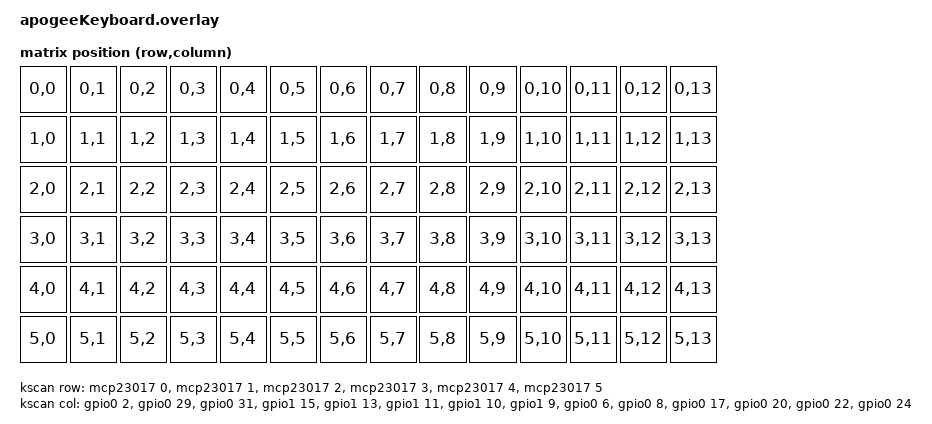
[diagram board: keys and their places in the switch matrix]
#include <dt-bindings/zmk/matrix_transform.h>

/ {
    chosen {
        zmk,kscan = &kscan;
        zmk,matrix_transform = &default_transform;
    };

    /* 6x14 logical matrix: identity RC(row, col) mapping */
    default_transform: keymap_transform_0 {
        compatible = "zmk,matrix-transform";
        columns = <14>;
        rows = <6>;
        map = <
            /* Row 0 */
            RC(0,0)  RC(0,1)  RC(0,2)  RC(0,3)  RC(0,4)  RC(0,5)  RC(0,6)  RC(0,7)  RC(0,8)  RC(0,9)  RC(0,10) RC(0,11) RC(0,12) RC(0,13)
            /* Row 1 */
            RC(1,0)  RC(1,1)  RC(1,2)  RC(1,3)  RC(1,4)  RC(1,5)  RC(1,6)  RC(1,7)  RC(1,8)  RC(1,9)  RC(1,10) RC(1,11) RC(1,12) RC(1,13)
            /* Row 2 */
            RC(2,0)  RC(2,1)  RC(2,2)  RC(2,3)  RC(2,4)  RC(2,5)  RC(2,6)  RC(2,7)  RC(2,8)  RC(2,9)  RC(2,10) RC(2,11) RC(2,12) RC(2,13)
            /* Row 3 */
            RC(3,0)  RC(3,1)  RC(3,2)  RC(3,3)  RC(3,4)  RC(3,5)  RC(3,6)  RC(3,7)  RC(3,8)  RC(3,9)  RC(3,10) RC(3,11) RC(3,12) RC(3,13)
            /* Row 4 */
            RC(4,0)  RC(4,1)  RC(4,2)  RC(4,3)  RC(4,4)  RC(4,5)  RC(4,6)  RC(4,7)  RC(4,8)  RC(4,9)  RC(4,10) RC(4,11) RC(4,12) RC(4,13)
            /* Row 5 */
            RC(5,0)  RC(5,1)  RC(5,2)  RC(5,3)  RC(5,4)  RC(5,5)  RC(5,6)  RC(5,7)  RC(5,8)  RC(5,9)  RC(5,10) RC(5,11) RC(5,12) RC(5,13)
        >;
    };

    /* GPIO matrix scanner using MCP23017 rows + nice!nano columns */
    / {
    kscan: kscan {
        compatible = "zmk,kscan-gpio-matrix";
        label = "KSCAN";

        diode-direction = "row2col";

        /* Example: columns on nice!nano pins */
        col-gpios =
            <&gpio0  2 (GPIO_ACTIVE_HIGH)>,
            <&gpio0 29 (GPIO_ACTIVE_HIGH)>,
            <&gpio0 31 (GPIO_ACTIVE_HIGH)>,
            <&gpio1 15 (GPIO_ACTIVE_HIGH)>,
            <&gpio1 13 (GPIO_ACTIVE_HIGH)>,
            <&gpio1 11 (GPIO_ACTIVE_HIGH)>,
            <&gpio1 10 (GPIO_ACTIVE_HIGH)>,
            <&gpio1  9 (GPIO_ACTIVE_HIGH)>,
            <&gpio0  6 (GPIO_ACTIVE_HIGH)>,
            <&gpio0  8 (GPIO_ACTIVE_HIGH)>,
            <&gpio0 17 (GPIO_ACTIVE_HIGH)>,
            <&gpio0 20 (GPIO_ACTIVE_HIGH)>,
            <&gpio0 22 (GPIO_ACTIVE_HIGH)>,
            <&gpio0 24 (GPIO_ACTIVE_HIGH)>;

        /* Example: rows on MCP23017 pins 0–5 */
        row-gpios =
            <&mcp23017 0 (GPIO_ACTIVE_LOW | GPIO_PULL_UP)>,
            <&mcp23017 1 (GPIO_ACTIVE_LOW | GPIO_PULL_UP)>,
            <&mcp23017 2 (GPIO_ACTIVE_LOW | GPIO_PULL_UP)>,
            <&mcp23017 3 (GPIO_ACTIVE_LOW | GPIO_PULL_UP)>,
            <&mcp23017 4 (GPIO_ACTIVE_LOW | GPIO_PULL_UP)>,
            <&mcp23017 5 (GPIO_ACTIVE_LOW | GPIO_PULL_UP)>;
    };
};


&i2c0 {
    status = "okay";
    clock-frequency = <I2C_BITRATE_STANDARD>;

    mcp23017: mcp23017@20 {
        compatible = "microchip,mcp23017";
        status = "okay";

        /* This makes it a GPIO controller Zephyr understands */
        gpio-controller;
        #gpio-cells = <2>;
        ngpios = <16>;
        reg = <0x20>;
        label = "MCP23017_IO";
    };
};
